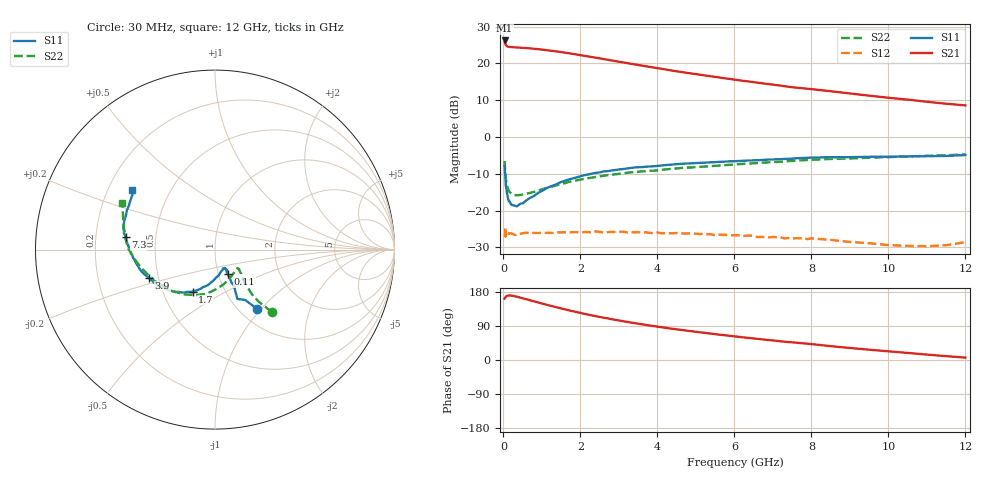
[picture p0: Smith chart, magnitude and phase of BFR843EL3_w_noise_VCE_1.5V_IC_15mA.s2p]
! Infineon Technologies  Discrete & RF Semiconductors
! BFR843EL3
! VCE =  1.5 V,  IC =  15 mA
! Common Emitter S-Parameters:  Aug 2013
# GHz  S  MA  R  50
!  f  S11  S21  S12  S22
! GHz  MAG  ANG  MAG  ANG  MAG  ANG  MAG  ANG
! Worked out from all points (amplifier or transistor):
!   103 points, 30 MHz to 12 GHz, reference 50 ohm
!   highest |S21| = 26.2 dB at 30 MHz (marker M1)
!   |S21| within 3 dB of that: start of sweep to 1.39 GHz
!   unconditionally stable (mu >= 1): 257.8 MHz to 400.7 MHz; 4.817 GHz to end of sweep
!   at 400 MHz: K = 1.00, MAG = 25.3 dB, |S12| = -26.4 dB
!   at 3.7 GHz: K = 0.92, MSG = 22.6 dB, |S12| = -25.9 dB
!   at 12 GHz: K = 2.34, MAG = 12.1 dB, |S12| = -28.6 dB
!   lowest NFmin = 0.99 dB at 900 MHz
!   S11 on the Smith chart (normalised r, x): 30 MHz: 1.20, -0.95; 110 MHz: 1.11, -0.31; 1.7 GHz: 0.70, -0.35; 3.9 GHz: 0.44, -0.17; 7.3 GHz: 0.33, +0.06; 12 GHz: 0.30, +0.30
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0.03  0.4054 -54.6  20.5 162.2  0.0435 28.9  0.4713 -47.6
0.04  0.3264 -59.2  19.16 163.8  0.0444 23.0  0.3826 -49.9
0.06  0.2204 -62.0  17.79 166.8  0.0444 9.0  0.2839 -49.4
0.08  0.1913 -63.0  17.28 168.7  0.0476 11.6  0.2387 -47.5
0.11  0.1531 -62.3  16.94 169.9  0.048 7.6  0.2034 -44.2
0.15  0.135 -59.4  16.76 170.5  0.0493 7.3  0.1808 -41.0
0.25  0.118 -63.3  16.6 169.2  0.048 4.4  0.1638 -38.9
0.7  0.1492 -84.1  15.99 157.4  0.049 1.8  0.1743 -58.7
1.2  0.2102 -104.4  14.95 143.7  0.0498 1.7  0.2074 -81.9
1.7  0.2647 -118.1  13.75 131.1  0.0503 1.1  0.2455 -99.7
2.1  0.3024 -127.8  12.7 121.9  0.051 1.1  0.2704 -111.1
2.6  0.3405 -137.9  11.46 111.7  0.0503 1.4  0.2968 -122.5
3  0.3618 -144.4  10.53 104.3  0.0516 0.4  0.3153 -130.3
3.4  0.3848 -150.6  9.707 97.4  0.0504 -0.7  0.3347 -136.9
3.9  0.3997 -156.8  8.793 89.6  0.0495 -3.3  0.3484 -144.0
4.1  0.4092 -159.1  8.461 86.6  0.049 -1.7  0.3568 -146.2
5.1  0.4446 -169.9  7.018 73.1  0.0478 -3.4  0.3919 -157.9
6.1  0.4713 -178.6  5.921 61.3  0.0462 -3.6  0.4267 -167.0
7.3  0.5029 172.0  4.897 48.3  0.0418 -2.9  0.465 -177.1
8.5  0.5304 162.3  4.185 36.6  0.0399 -3.8  0.5027 173.0
10.5  0.5441 150.5  3.221 18.7  0.0331 11.0  0.5439 160.4
12  0.5683 144.3  2.686 6.3  0.0372 28.2  0.5788 153.2
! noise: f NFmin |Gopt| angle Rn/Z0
0.45  1  0.06  107  0.12
0.9  0.99  0.07  113  0.12
1.5  1.01  0.08  117  0.11
1.9  1.02  0.08  121  0.11
2.4  1.03  0.09  126  0.11
3.5  1.05  0.12  140  0.1
5.5  1.09  0.18  162  0.1
8  1.14  0.3  190  0.07
10  1.18  0.42  217  0.07
